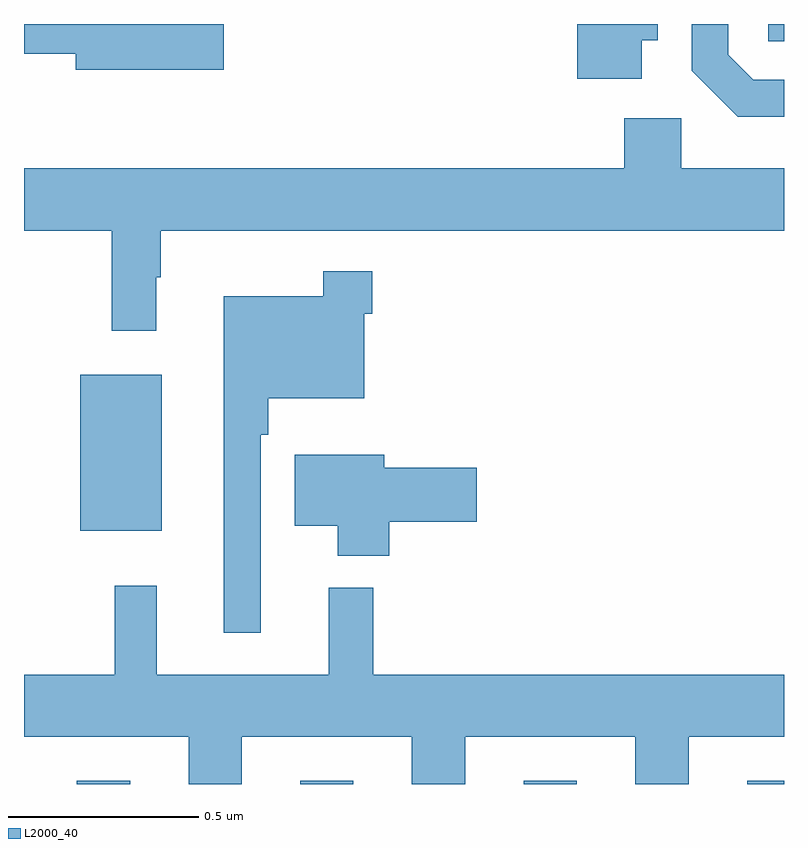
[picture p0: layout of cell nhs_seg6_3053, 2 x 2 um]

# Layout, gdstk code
import gdstk
lib = gdstk.Library(unit=1e-6, precision=1e-09)
def R(c, l, rs):  # rectangles x0, y0, x1, y1
    for r in rs: c.add(gdstk.rectangle(r[:2], r[2:], *l))
def A(c, l, x, y, w, h, nx, ny, dx, dy):  # array of equal rectangles
    R(c, l, [(x+i*dx, y+j*dy, x+i*dx+w, y+j*dy+h) for i in range(nx) for j in range(ny)])
def P(c, l, *ps):  # polygons
    for p in ps: c.add(gdstk.Polygon(p, *l))
L2000_40 = (2000, 40)

nhs_seg6_3053 = lib.new_cell('nhs_seg6_3053')
A(nhs_seg6_3053, L2000_40, 151.139, 992.5, 0.14, 0.009, 3, 1, 0.588, 0)
R(nhs_seg6_3053, L2000_40, [(152.903,992.5,153,992.509), (151.148,993.167,151.363,993.577), (152.958,994.455,153,994.5)])
P(nhs_seg6_3053, L2000_40, [(152.626,994.457),(152.668,994.457),(152.668,994.5),(152.456,994.5),(152.456,994.356),(152.626,994.356)],
  [(153,994.353),(152.919,994.353),(152.853,994.419),(152.853,994.5),(152.757,994.5),(152.757,994.377),(152.878,994.256),(153,994.256)],
  [(151.525,994.5),(151,994.5),(151,994.422),(151.136,994.422),(151.136,994.379),(151.525,994.379)],
  [(151.348,993.833),(151.36,993.833),(151.36,993.956),(153,993.956),(153,994.12),(152.73,994.12),(152.73,994.252),(152.579,994.252),(152.579,994.12),(151,994.12),(151,993.956),(151.231,993.956),(151.231,993.693),(151.348,993.693)],
  [(151.623,993.419),(151.643,993.419),(151.643,993.515),(151.896,993.515),(151.896,993.737),(151.916,993.737),(151.916,993.85),(151.788,993.85),(151.788,993.784),(151.526,993.784),(151.526,992.898),(151.623,992.898)],
  [(151.961,993.19),(152.191,993.19),(152.191,993.332),(151.948,993.332),(151.948,993.367),(151.712,993.367),(151.712,993.179),(151.826,993.179),(151.826,993.101),(151.961,993.101)],
  [(151.573,992.624),(152.021,992.624),(152.021,992.5),(152.161,992.5),(152.161,992.624),(152.609,992.624),(152.609,992.5),(152.749,992.5),(152.749,992.624),(153,992.624),(153,992.788),(151.919,992.788),(151.919,993.016),(151.802,993.016),(151.802,992.788),(151.349,992.788),(151.349,993.022),(151.239,993.022),(151.239,992.788),(151,992.788),(151,992.624),(151.433,992.624),(151.433,992.5),(151.573,992.5)])

lib.write_gds('nhs_seg6_3053.gds')
